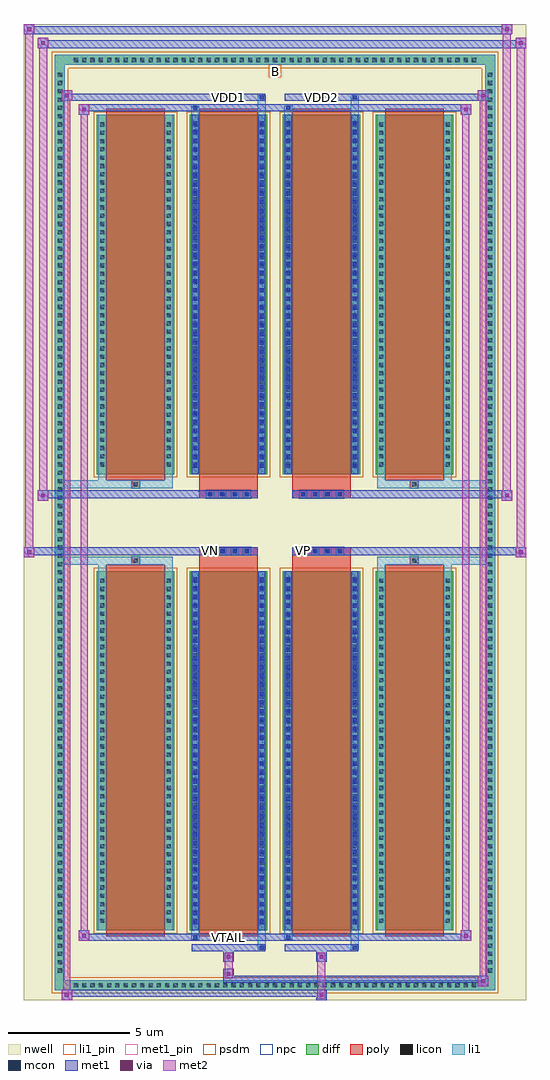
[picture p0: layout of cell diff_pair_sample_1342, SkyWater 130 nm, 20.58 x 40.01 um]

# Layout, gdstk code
import gdstk
lib = gdstk.Library(unit=1e-6, precision=5e-09)
def R(c, l, rs):  # rectangles x0, y0, x1, y1
    for r in rs: c.add(gdstk.rectangle(r[:2], r[2:], *l))
def A(c, l, x, y, w, h, nx, ny, dx, dy):  # array of equal rectangles
    R(c, l, [(x+i*dx, y+j*dy, x+i*dx+w, y+j*dy+h) for i in range(nx) for j in range(ny)])
def P(c, l, *ps):  # polygons
    for p in ps: c.add(gdstk.Polygon(p, *l))
nwell = (64, 20)
diff = (65, 20)
poly = (66, 20)
licon = (66, 44)
li1_pin = (67, 16)
li1 = (67, 20)
mcon = (67, 44)
met1_pin = (68, 16)
met1 = (68, 20)
via = (68, 44)
met2 = (69, 20)
psdm = (94, 20)
npc = (95, 20)

diff_pair_sample_1342 = lib.new_cell('diff_pair_sample_1342')
R(diff_pair_sample_1342, nwell, [(-10.29,-19.57,10.29,20.44), (-7.61,-17.76,-0.01,-0.8), (0.01,-17.76,7.61,-0.8), (-7.61,0.8,-0.01,17.76), (0.01,0.8,7.61,17.76)])
A(diff_pair_sample_1342, diff, -8.365, -19.17, 0.41, 0.41, 49, 2, 0.34, 37.93)
A(diff_pair_sample_1342, diff, -9.02, -18.565, 0.41, 0.41, 1, 109, 0, 0.34)
A(diff_pair_sample_1342, diff, 8.61, -18.565, 0.41, 0.41, 1, 109, 0, 0.34)
A(diff_pair_sample_1342, diff, -7.3, -16.715, 3.17, 14.73, 4, 2, 3.81, 18.7)
R(diff_pair_sample_1342, diff, [(-8.365,-19.17,8.365,-18.76), (-9.02,-18.565,-8.61,18.565), (8.61,-18.565,9.02,18.565), (-8.365,18.76,8.365,19.17)])
P(diff_pair_sample_1342, diff, [(9.02,19.17),(-9.02,19.17),(-9.02,-18.76),(-8.61,-18.76),(-8.61,18.76),(8.61,18.76),(8.61,-18.76),(-8.61,-18.76),(-9.02,-18.76),(-9.02,-19.17),(9.02,-19.17)])
A(diff_pair_sample_1342, poly, -6.91, -16.965, 2.39, 15.23, 4, 2, 3.81, 18.7)
A(diff_pair_sample_1342, poly, -2.82, -1.33, 0.33, 0.33, 4, 2, 0.5, 2.33)
A(diff_pair_sample_1342, poly, 0.99, -1.33, 0.33, 0.33, 4, 2, 0.5, 2.33)
R(diff_pair_sample_1342, poly, [(-5.88,-1.735,-5.55,-1.405), (-5.88,-1.735,-5.55,-1.405), (-3.1,-1.735,-0.71,-1.33), (0.71,-1.735,3.1,-1.33), (5.55,-1.735,5.88,-1.405), (5.55,-1.735,5.88,-1.405), (-3.1,-1.33,-0.71,-1), (0.71,-1.33,3.1,-1), (-3.1,1,-0.71,1.33), (0.71,1,3.1,1.33), (-3.1,1.33,-0.71,1.735), (0.71,1.33,3.1,1.735), (-5.88,1.405,-5.55,1.735), (-5.88,1.405,-5.55,1.735), (5.55,1.405,5.88,1.735), (5.55,1.405,5.88,1.735)])
A(diff_pair_sample_1342, licon, -8.245, -19.05, 0.17, 0.17, 49, 2, 0.34, 37.93)
A(diff_pair_sample_1342, licon, -8.9, -18.445, 0.17, 0.17, 1, 109, 0, 0.34)
A(diff_pair_sample_1342, licon, 8.73, -18.445, 0.17, 0.17, 1, 109, 0, 0.34)
A(diff_pair_sample_1342, licon, -7.16, -16.405, 0.17, 0.17, 1, 42, 0, 0.34)
A(diff_pair_sample_1342, licon, -4.44, -16.405, 0.17, 0.17, 1, 42, 0, 0.34)
A(diff_pair_sample_1342, licon, -3.35, -16.405, 0.17, 0.17, 1, 42, 0, 0.34)
A(diff_pair_sample_1342, licon, -0.63, -16.405, 0.17, 0.17, 1, 42, 0, 0.34)
A(diff_pair_sample_1342, licon, 0.46, -16.405, 0.17, 0.17, 1, 42, 0, 0.34)
A(diff_pair_sample_1342, licon, 3.18, -16.405, 0.17, 0.17, 1, 42, 0, 0.34)
A(diff_pair_sample_1342, licon, 4.27, -16.405, 0.17, 0.17, 1, 42, 0, 0.34)
A(diff_pair_sample_1342, licon, 6.99, -16.405, 0.17, 0.17, 1, 42, 0, 0.34)
A(diff_pair_sample_1342, licon, -2.74, -1.25, 0.17, 0.17, 4, 2, 0.5, 2.33)
A(diff_pair_sample_1342, licon, 1.07, -1.25, 0.17, 0.17, 4, 2, 0.5, 2.33)
A(diff_pair_sample_1342, licon, -7.16, 2.295, 0.17, 0.17, 1, 42, 0, 0.34)
A(diff_pair_sample_1342, licon, -4.44, 2.295, 0.17, 0.17, 1, 42, 0, 0.34)
A(diff_pair_sample_1342, licon, -3.35, 2.295, 0.17, 0.17, 1, 42, 0, 0.34)
A(diff_pair_sample_1342, licon, -0.63, 2.295, 0.17, 0.17, 1, 42, 0, 0.34)
A(diff_pair_sample_1342, licon, 0.46, 2.295, 0.17, 0.17, 1, 42, 0, 0.34)
A(diff_pair_sample_1342, licon, 3.18, 2.295, 0.17, 0.17, 1, 42, 0, 0.34)
A(diff_pair_sample_1342, licon, 4.27, 2.295, 0.17, 0.17, 1, 42, 0, 0.34)
A(diff_pair_sample_1342, licon, 6.99, 2.295, 0.17, 0.17, 1, 42, 0, 0.34)
R(diff_pair_sample_1342, licon, [(-5.8,-1.655,-5.63,-1.485), (5.63,-1.655,5.8,-1.485), (-5.8,1.485,-5.63,1.655), (5.63,1.485,5.8,1.655)])
R(diff_pair_sample_1342, li1_pin, [(-0.25,18.26,0.25,18.76)])
A(diff_pair_sample_1342, li1, -8.325, -19.13, 0.33, 0.33, 49, 2, 0.34, 37.93)
A(diff_pair_sample_1342, li1, -8.98, -18.525, 0.33, 0.33, 1, 109, 0, 0.34)
A(diff_pair_sample_1342, li1, 8.65, -18.525, 0.33, 0.33, 1, 109, 0, 0.34)
A(diff_pair_sample_1342, li1, -7.24, -16.485, 0.33, 0.33, 1, 42, 0, 0.34)
A(diff_pair_sample_1342, li1, -4.52, -16.485, 0.33, 0.33, 1, 42, 0, 0.34)
A(diff_pair_sample_1342, li1, -3.43, -16.485, 0.33, 0.33, 1, 42, 0, 0.34)
A(diff_pair_sample_1342, li1, -0.71, -16.485, 0.33, 0.33, 1, 42, 0, 0.34)
A(diff_pair_sample_1342, li1, 0.38, -16.485, 0.33, 0.33, 1, 42, 0, 0.34)
A(diff_pair_sample_1342, li1, 3.1, -16.485, 0.33, 0.33, 1, 42, 0, 0.34)
A(diff_pair_sample_1342, li1, 4.19, -16.485, 0.33, 0.33, 1, 42, 0, 0.34)
A(diff_pair_sample_1342, li1, 6.91, -16.485, 0.33, 0.33, 1, 42, 0, 0.34)
A(diff_pair_sample_1342, li1, -3.35, -16.455, 0.17, 0.17, 1, 40, 0, 0.36)
A(diff_pair_sample_1342, li1, -0.63, -16.455, 0.17, 0.17, 1, 40, 0, 0.36)
A(diff_pair_sample_1342, li1, 0.46, -16.455, 0.17, 0.17, 1, 40, 0, 0.36)
A(diff_pair_sample_1342, li1, 3.18, -16.455, 0.17, 0.17, 1, 40, 0, 0.36)
A(diff_pair_sample_1342, li1, -2.82, -1.33, 0.33, 0.33, 4, 2, 0.5, 2.33)
A(diff_pair_sample_1342, li1, 0.99, -1.33, 0.33, 0.33, 4, 2, 0.5, 2.33)
A(diff_pair_sample_1342, li1, -7.24, 2.215, 0.33, 0.33, 1, 42, 0, 0.34)
A(diff_pair_sample_1342, li1, -4.52, 2.215, 0.33, 0.33, 1, 42, 0, 0.34)
A(diff_pair_sample_1342, li1, -3.43, 2.215, 0.33, 0.33, 1, 42, 0, 0.34)
A(diff_pair_sample_1342, li1, -0.71, 2.215, 0.33, 0.33, 1, 42, 0, 0.34)
A(diff_pair_sample_1342, li1, 0.38, 2.215, 0.33, 0.33, 1, 42, 0, 0.34)
A(diff_pair_sample_1342, li1, 3.1, 2.215, 0.33, 0.33, 1, 42, 0, 0.34)
A(diff_pair_sample_1342, li1, 4.19, 2.215, 0.33, 0.33, 1, 42, 0, 0.34)
A(diff_pair_sample_1342, li1, 6.91, 2.215, 0.33, 0.33, 1, 42, 0, 0.34)
A(diff_pair_sample_1342, li1, -3.35, 2.245, 0.17, 0.17, 1, 40, 0, 0.36)
A(diff_pair_sample_1342, li1, -0.63, 2.245, 0.17, 0.17, 1, 40, 0, 0.36)
A(diff_pair_sample_1342, li1, 0.46, 2.245, 0.17, 0.17, 1, 40, 0, 0.36)
A(diff_pair_sample_1342, li1, 3.18, 2.245, 0.17, 0.17, 1, 40, 0, 0.36)
R(diff_pair_sample_1342, li1, [(-9.02,-19.17,-8.61,-18.76), (-9.02,-19.17,-8.61,-18.76), (-8.61,-19.17,8.61,-18.76), (8.61,-19.17,9.02,-18.76), (8.61,-19.17,9.02,-18.76), (-9.02,-18.76,-8.61,18.76), (8.61,-18.76,9.02,18.76), (-0.71,-17.52,-0.38,-16.715), (-0.63,-17.52,-0.46,-17.35), (3.1,-17.52,3.43,-16.715), (3.18,-17.52,3.35,-17.35), (-3.43,-17.09,-3.1,-16.715), (-3.35,-17.09,-3.18,-16.92), (0.38,-17.09,0.71,-16.715), (0.46,-17.09,0.63,-16.92), (-7.24,-16.715,-6.91,-1.985), (-4.52,-16.715,-4.19,-1.985), (-3.43,-16.715,-3.1,-1.985), (-0.71,-16.715,-0.38,-1.985), (0.38,-16.715,0.71,-1.985), (3.1,-16.715,3.43,-1.985), (4.19,-16.715,4.52,-1.985), (6.91,-16.715,7.24,-1.985), (-3.35,-16.455,-3.18,-2.245), (-0.63,-16.455,-0.46,-2.245), (0.46,-16.455,0.63,-2.245), (3.18,-16.455,3.35,-2.245), (-7.24,-1.985,-6.91,-1.405), (-4.52,-1.985,-4.19,-1.405), (4.19,-1.985,4.52,-1.405), (6.91,-1.985,7.24,-1.405), (-9.02,-1.735,-5.88,-1.405), (-7.24,-1.735,-5.88,-1.405), (-5.88,-1.735,-5.55,-1.405), (-5.55,-1.735,-4.19,-1.405), (4.19,-1.735,5.55,-1.405), (5.55,-1.735,5.88,-1.405), (5.55,-1.735,9.02,-1.405), (5.88,-1.735,7.24,-1.405), (-9.02,1.405,-5.88,1.735), (-7.24,1.405,-5.88,1.735), (-7.24,1.405,-6.91,1.985), (-5.88,1.405,-5.55,1.735), (-5.55,1.405,-4.19,1.735), (-4.52,1.405,-4.19,1.985), (4.19,1.405,5.55,1.735), (4.19,1.405,4.52,1.985), (5.55,1.405,5.88,1.735), (5.55,1.405,9.02,1.735), (5.88,1.405,7.24,1.735), (6.91,1.405,7.24,1.985), (-7.24,1.985,-6.91,16.715), (-4.52,1.985,-4.19,16.715), (-3.43,1.985,-3.1,16.715), (-0.71,1.985,-0.38,16.715), (0.38,1.985,0.71,16.715), (3.1,1.985,3.43,16.715), (4.19,1.985,4.52,16.715), (6.91,1.985,7.24,16.715), (-3.35,2.245,-3.18,16.455), (-0.63,2.245,-0.46,16.455), (0.46,2.245,0.63,16.455), (3.18,2.245,3.35,16.455), (-3.43,16.715,-3.1,17.09), (-0.71,16.715,-0.38,17.52), (0.38,16.715,0.71,17.09), (3.1,16.715,3.43,17.52), (-3.35,16.92,-3.18,17.09), (0.46,16.92,0.63,17.09), (-0.63,17.35,-0.46,17.52), (3.18,17.35,3.35,17.52), (-9.02,18.76,-8.61,19.17), (-9.02,18.76,-8.61,19.17), (-8.61,18.76,8.61,19.17), (8.61,18.76,9.02,19.17), (8.61,18.76,9.02,19.17)])
A(diff_pair_sample_1342, mcon, -3.35, -16.455, 0.17, 0.17, 1, 40, 0, 0.36)
A(diff_pair_sample_1342, mcon, -0.63, -16.455, 0.17, 0.17, 1, 40, 0, 0.36)
A(diff_pair_sample_1342, mcon, 0.46, -16.455, 0.17, 0.17, 1, 40, 0, 0.36)
A(diff_pair_sample_1342, mcon, 3.18, -16.455, 0.17, 0.17, 1, 40, 0, 0.36)
A(diff_pair_sample_1342, mcon, -2.74, -1.25, 0.17, 0.17, 4, 2, 0.5, 2.33)
A(diff_pair_sample_1342, mcon, 1.07, -1.25, 0.17, 0.17, 4, 2, 0.5, 2.33)
A(diff_pair_sample_1342, mcon, -3.35, 2.245, 0.17, 0.17, 1, 40, 0, 0.36)
A(diff_pair_sample_1342, mcon, -0.63, 2.245, 0.17, 0.17, 1, 40, 0, 0.36)
A(diff_pair_sample_1342, mcon, 0.46, 2.245, 0.17, 0.17, 1, 40, 0, 0.36)
A(diff_pair_sample_1342, mcon, 3.18, 2.245, 0.17, 0.17, 1, 40, 0, 0.36)
R(diff_pair_sample_1342, mcon, [(-0.63,-17.52,-0.46,-17.35), (3.18,-17.52,3.35,-17.35), (-3.35,-17.09,-3.18,-16.92), (0.46,-17.09,0.63,-16.92), (-3.35,16.92,-3.18,17.09), (0.46,16.92,0.63,17.09), (-0.63,17.35,-0.46,17.52), (3.18,17.35,3.35,17.52)])
R(diff_pair_sample_1342, met1_pin, [(-2.04,-17.13,-1.77,-16.86), (-2.79,-1.29,-2.52,-1.02), (1.02,-1.29,1.29,-1.02), (-2.04,17.31,-1.77,17.58), (1.77,17.31,2.04,17.58)])
A(diff_pair_sample_1342, met1, -3.41, -16.515, 0.29, 0.29, 1, 40, 0, 0.36)
A(diff_pair_sample_1342, met1, -0.69, -16.515, 0.29, 0.29, 1, 40, 0, 0.36)
A(diff_pair_sample_1342, met1, 0.4, -16.515, 0.29, 0.29, 1, 40, 0, 0.36)
A(diff_pair_sample_1342, met1, 3.12, -16.515, 0.29, 0.29, 1, 40, 0, 0.36)
A(diff_pair_sample_1342, met1, -2.8, -1.31, 0.29, 0.29, 4, 2, 0.5, 2.33)
A(diff_pair_sample_1342, met1, 1.01, -1.31, 0.29, 0.29, 4, 2, 0.5, 2.33)
A(diff_pair_sample_1342, met1, -3.41, 2.185, 0.29, 0.29, 1, 40, 0, 0.36)
A(diff_pair_sample_1342, met1, -0.69, 2.185, 0.29, 0.29, 1, 40, 0, 0.36)
A(diff_pair_sample_1342, met1, 0.4, 2.185, 0.29, 0.29, 1, 40, 0, 0.36)
A(diff_pair_sample_1342, met1, 3.12, 2.185, 0.29, 0.29, 1, 40, 0, 0.36)
R(diff_pair_sample_1342, met1, [(-8.75,-19.57,-8.32,-19.14), (1.69,-19.57,2.12,-19.14), (-8.75,-19.43,2.12,-19.14), (8.32,-19,8.75,-18.57), (-2.12,-18.86,8.75,-18.57), (-2.12,-18.72,-1.69,-18.29), (-2.12,-18.01,-1.69,-17.58), (1.69,-18.01,2.12,-17.58), (-3.41,-17.58,-0.4,-17.29), (-0.69,-17.58,-0.4,-17.29), (0.4,-17.58,3.41,-17.29), (3.12,-17.58,3.41,-17.29), (-8.04,-17.15,-7.61,-16.72), (-8.04,-17.15,-3.41,-16.86), (-3.41,-17.15,-3.12,-16.86), (-3.41,-17.15,-0.4,-16.86), (-0.4,-17.15,0.4,-16.86), (0.4,-17.15,0.69,-16.86), (0.4,-17.15,3.41,-16.86), (3.41,-17.15,8.04,-16.86), (7.61,-17.15,8.04,-16.72), (-3.41,-16.715,-3.12,-1.985), (-0.69,-16.715,-0.4,-1.985), (0.4,-16.715,0.69,-1.985), (3.12,-16.715,3.41,-1.985), (-10.29,-1.43,-9.86,-1), (9.86,-1.43,10.29,-1), (-10.29,-1.33,-0.71,-1), (-3.1,-1.33,-0.71,-1), (0.71,-1.33,3.1,-1), (0.71,-1.33,10.29,-1), (-9.72,0.9,-9.29,1.33), (9.29,0.9,9.72,1.33), (-9.72,1,-3.1,1.33), (-3.1,1,-0.71,1.33), (0.71,1,3.1,1.33), (3.1,1,9.72,1.33), (-3.41,1.985,-3.12,16.715), (-0.69,1.985,-0.4,16.715), (0.4,1.985,0.69,16.715), (3.12,1.985,3.41,16.715), (-8.04,16.72,-7.61,17.15), (7.61,16.72,8.04,17.15), (-8.04,16.86,-3.41,17.15), (-3.41,16.86,-3.12,17.15), (-3.41,16.86,-0.4,17.15), (-0.4,16.86,0.4,17.15), (0.4,16.86,0.69,17.15), (0.4,16.86,3.41,17.15), (3.41,16.86,8.04,17.15), (-8.75,17.29,-8.32,17.72), (-8.75,17.29,-3.41,17.58), (-3.41,17.29,-0.4,17.58), (-0.69,17.29,-0.4,17.58), (0.4,17.29,3.41,17.58), (3.12,17.29,3.41,17.58), (3.41,17.29,8.75,17.58), (8.32,17.29,8.75,17.72), (-9.72,19.44,-9.29,19.87), (-9.72,19.44,-7.61,19.77), (-7.61,19.44,7.61,19.77), (7.61,19.44,10.29,19.77), (9.86,19.44,10.29,19.87), (-10.29,20.01,-9.86,20.44), (-10.29,20.01,-7.61,20.34), (-7.61,20.01,7.61,20.34), (7.61,20.01,9.72,20.34), (9.29,20.01,9.72,20.44)])
R(diff_pair_sample_1342, via, [(-8.61,-19.43,-8.46,-19.28), (1.83,-19.43,1.98,-19.28), (8.46,-18.86,8.61,-18.71), (-1.98,-18.58,-1.83,-18.43), (-1.98,-17.87,-1.83,-17.72), (1.83,-17.87,1.98,-17.72), (-7.9,-17.01,-7.75,-16.86), (7.75,-17.01,7.9,-16.86), (-10.15,-1.29,-10,-1.14), (10,-1.29,10.15,-1.14), (-9.58,1.04,-9.43,1.19), (9.43,1.04,9.58,1.19), (-7.9,16.86,-7.75,17.01), (7.75,16.86,7.9,17.01), (-8.61,17.43,-8.46,17.58), (8.46,17.43,8.61,17.58), (-9.58,19.58,-9.43,19.73), (10,19.58,10.15,19.73), (-10.15,20.15,-10,20.3), (9.43,20.15,9.58,20.3)])
R(diff_pair_sample_1342, met2, [(-8.75,-19.57,-8.32,-19.14), (-8.68,-19.57,-8.39,17.72), (-8.39,-19.57,-8.32,-19.14), (-8.7,-19.52,-8.37,-19.19), (1.74,-19.52,2.07,-19.19), (1.74,-19.19,2.07,-17.96), (8.32,-19,8.75,-18.57), (8.39,-19,8.68,17.72), (8.68,-19,8.75,-18.57), (8.37,-18.95,8.7,-18.62), (-2.07,-18.67,-1.74,-18.34), (-2.07,-18.34,-1.74,-17.96), (-2.07,-17.96,-1.74,-17.63), (1.74,-17.96,2.07,-17.63), (-8.04,-17.15,-7.61,-16.72), (-7.97,-17.15,-7.68,17.15), (-7.68,-17.15,-7.61,-16.72), (7.61,-17.15,8.04,-16.72), (7.68,-17.15,7.97,17.15), (7.97,-17.15,8.04,-16.72), (-7.99,-17.1,-7.66,-16.77), (7.66,-17.1,7.99,-16.77), (-10.29,-1.43,-9.86,-1), (-10.24,-1.43,-9.91,20.44), (-9.91,-1.43,-9.86,-1), (9.86,-1.43,10.29,-1), (9.91,-1.43,10.24,19.87), (10.24,-1.43,10.29,-1), (-10.24,-1.38,-9.91,-1.05), (9.91,-1.38,10.24,-1.05), (-9.72,0.9,-9.29,1.33), (-9.67,0.9,-9.34,19.87), (-9.34,0.9,-9.29,1.33), (9.29,0.9,9.72,1.33), (9.34,0.9,9.67,20.44), (9.67,0.9,9.72,1.33), (-9.67,0.95,-9.34,1.28), (9.34,0.95,9.67,1.28), (-8.04,16.72,-7.61,17.15), (-7.68,16.72,-7.61,17.15), (7.61,16.72,8.04,17.15), (7.97,16.72,8.04,17.15), (-7.99,16.77,-7.66,17.1), (7.66,16.77,7.99,17.1), (-8.75,17.29,-8.32,17.72), (-8.39,17.29,-8.32,17.72), (8.32,17.29,8.75,17.72), (8.68,17.29,8.75,17.72), (-8.7,17.34,-8.37,17.67), (8.37,17.34,8.7,17.67), (-9.72,19.44,-9.29,19.87), (-9.34,19.44,-9.29,19.87), (9.86,19.44,10.29,19.87), (10.24,19.44,10.29,19.87), (-9.67,19.49,-9.34,19.82), (9.91,19.49,10.24,19.82), (-10.29,20.01,-9.86,20.44), (-9.91,20.01,-9.86,20.44), (9.29,20.01,9.72,20.44), (9.67,20.01,9.72,20.44), (-10.24,20.06,-9.91,20.39), (9.34,20.06,9.67,20.39)])
A(diff_pair_sample_1342, psdm, -7.43, -16.845, 3.43, 14.99, 4, 2, 3.81, 18.7)
P(diff_pair_sample_1342, psdm, [(9.15,19.3),(-9.15,19.3),(-9.15,-18.63),(-8.48,-18.63),(-8.48,18.63),(8.48,18.63),(8.48,-18.63),(-8.48,-18.63),(-9.15,-18.63),(-9.15,-19.3),(9.15,-19.3)])
A(diff_pair_sample_1342, npc, -2.84, -1.35, 0.37, 0.37, 4, 2, 0.5, 2.33)
A(diff_pair_sample_1342, npc, 0.97, -1.35, 0.37, 0.37, 4, 2, 0.5, 2.33)
R(diff_pair_sample_1342, npc, [(-5.9,-1.755,-5.53,-1.385), (5.53,-1.755,5.9,-1.385), (-2.84,-1.35,-1.97,-0.98), (-2.84,-1.35,-1.97,-0.98), (-2.34,-1.35,-1.47,-0.98), (-2.34,-1.35,-1.47,-0.98), (-1.84,-1.35,-0.97,-0.98), (-1.84,-1.35,-0.97,-0.98), (0.97,-1.35,1.84,-0.98), (0.97,-1.35,1.84,-0.98), (1.47,-1.35,2.34,-0.98), (1.47,-1.35,2.34,-0.98), (1.97,-1.35,2.84,-0.98), (1.97,-1.35,2.84,-0.98), (-2.84,0.98,-1.97,1.35), (-2.84,0.98,-1.97,1.35), (-2.34,0.98,-1.47,1.35), (-2.34,0.98,-1.47,1.35), (-1.84,0.98,-0.97,1.35), (-1.84,0.98,-0.97,1.35), (0.97,0.98,1.84,1.35), (0.97,0.98,1.84,1.35), (1.47,0.98,2.34,1.35), (1.47,0.98,2.34,1.35), (1.97,0.98,2.84,1.35), (1.97,0.98,2.84,1.35), (-5.9,1.385,-5.53,1.755), (5.53,1.385,5.9,1.755)])
diff_pair_sample_1342.add(gdstk.Label('VTAIL', (-1.905,-16.995), layer=68, texttype=5))
diff_pair_sample_1342.add(gdstk.Label('VN', (-2.655,-1.155), layer=68, texttype=5))
diff_pair_sample_1342.add(gdstk.Label('VP', (1.155,-1.155), layer=68, texttype=5))
diff_pair_sample_1342.add(gdstk.Label('B', (0,18.51), layer=67, texttype=5))
diff_pair_sample_1342.add(gdstk.Label('VDD2', (1.905,17.445), layer=68, texttype=5))
diff_pair_sample_1342.add(gdstk.Label('VDD1', (-1.905,17.445), layer=68, texttype=5))

lib.write_gds('diff_pair_sample_1342.gds')
